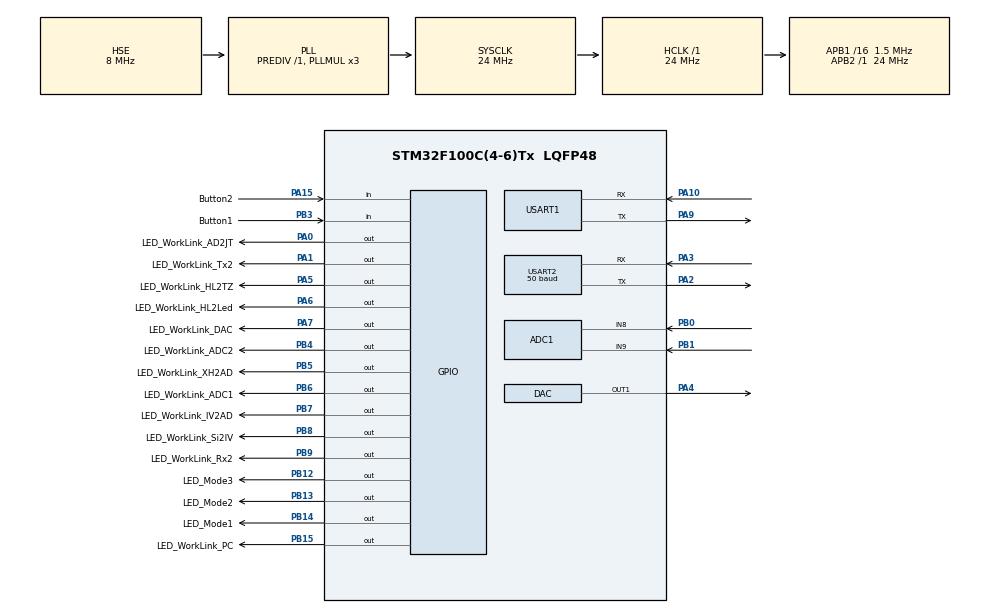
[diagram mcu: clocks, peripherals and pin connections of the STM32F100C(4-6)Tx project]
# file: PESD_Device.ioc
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ADC1.Channel-0\#ChannelRegularConversion=ADC_CHANNEL_8
ADC1.ContinuousConvMode=DISABLE
ADC1.DiscontinuousConvMode=DISABLE
ADC1.EnableInjectedConversion=DISABLE
ADC1.EnableRegularConversion=ENABLE
ADC1.InjNumberOfConversion=0
ADC1.NbrOfConversionFlag=1
ADC1.Rank-0\#ChannelRegularConversion=1
ADC1.SamplingTime-0\#ChannelRegularConversion=ADC_SAMPLETIME_1CYCLE_5
ADC1.master=1
Mcu.Family=STM32F1
Mcu.Name=STM32F100C(4-6)Tx
Mcu.Package=LQFP48
NVIC.PriorityGroup=NVIC_PRIORITYGROUP_4
NVIC.TIM1_UP_TIM16_IRQn=true\:0\:0\:false\:false\:true\:true\:true
NVIC.TIM6_DAC_IRQn=true\:0\:0\:false\:false\:true\:true\:true
NVIC.TIM7_IRQn=true\:0\:0\:false\:false\:true\:true\:true
NVIC.USART1_IRQn=true\:0\:0\:false\:false\:true\:true\:true
NVIC.USART2_IRQn=true\:0\:0\:false\:false\:true\:true\:true
PA0-WKUP.GPIO_Label=LED_WorkLink_AD2JT
PA0-WKUP.PinState=GPIO_PIN_SET
PA0-WKUP.Signal=GPIO_Output
PA1.GPIO_Label=LED_WorkLink_Tx2
PA1.PinState=GPIO_PIN_SET
PA1.Signal=GPIO_Output
PA10.Mode=Asynchronous
PA10.Signal=USART1_RX
PA13.Mode=Serial_Wire
PA13.Signal=SYS_JTMS-SWDIO
PA14.Mode=Serial_Wire
PA14.Signal=SYS_JTCK-SWCLK
PA15.GPIO_Label=Button2
PA15.Signal=GPIO_Input
PA2.Mode=Asynchronous
PA2.Signal=USART2_TX
PA3.Mode=Asynchronous
PA3.Signal=USART2_RX
PA4.Signal=COMP_DAC1_group
PA5.GPIO_Label=LED_WorkLink_HL2TZ
PA5.PinState=GPIO_PIN_SET
PA5.Signal=GPIO_Output
PA6.GPIO_Label=LED_WorkLink_HL2Led
PA6.PinState=GPIO_PIN_SET
PA6.Signal=GPIO_Output
PA7.GPIO_Label=LED_WorkLink_DAC
PA7.PinState=GPIO_PIN_SET
PA7.Signal=GPIO_Output
PA9.Mode=Asynchronous
PA9.Signal=USART1_TX
PB0.Signal=ADCx_IN8
PB1.Signal=ADCx_IN9
PB12.GPIO_Label=LED_Mode3
PB12.PinState=GPIO_PIN_SET
PB12.Signal=GPIO_Output
PB13.GPIO_Label=LED_Mode2
PB13.PinState=GPIO_PIN_SET
PB13.Signal=GPIO_Output
PB14.GPIO_Label=LED_Mode1
PB14.PinState=GPIO_PIN_SET
PB14.Signal=GPIO_Output
PB15.GPIO_Label=LED_WorkLink_PC
PB15.PinState=GPIO_PIN_SET
PB15.Signal=GPIO_Output
PB3.GPIO_Label=Button1
PB3.Signal=GPIO_Input
PB4.GPIO_Label=LED_WorkLink_ADC2
PB4.PinState=GPIO_PIN_SET
PB4.Signal=GPIO_Output
PB5.GPIO_Label=LED_WorkLink_XH2AD
PB5.PinState=GPIO_PIN_SET
PB5.Signal=GPIO_Output
PB6.GPIO_Label=LED_WorkLink_ADC1
PB6.PinState=GPIO_PIN_SET
PB6.Signal=GPIO_Output
PB7.GPIO_Label=LED_WorkLink_IV2AD
PB7.PinState=GPIO_PIN_SET
PB7.Signal=GPIO_Output
PB8.GPIO_Label=LED_WorkLink_Si2IV
PB8.PinState=GPIO_PIN_SET
PB8.Signal=GPIO_Output
PB9.GPIO_Label=LED_WorkLink_Rx2
PB9.PinState=GPIO_PIN_SET
PB9.Signal=GPIO_Output
PD0-OSC_IN.Mode=HSE-External-Oscillator
PD0-OSC_IN.Signal=RCC_OSC_IN
PD1-OSC_OUT.Mode=HSE-External-Oscillator
PD1-OSC_OUT.Signal=RCC_OSC_OUT
ProjectManager.HeapSize=0x200
ProjectManager.StackSize=0x400
ProjectManager.TargetToolchain=Other Toolchains (GPDSC)
RCC.AHBFreq_Value=24000000
RCC.APB1CLKDivider=RCC_HCLK_DIV16
RCC.APB1Freq_Value=1500000
RCC.APB1TimFreq_Value=3000000
RCC.APB2Freq_Value=24000000
RCC.APB2TimFreq_Value=24000000
RCC.HCLKFreq_Value=24000000
RCC.PLLMUL=RCC_PLL_MUL3
RCC.PLLSource=RCC_PLLSOURCE_HSE
RCC.SYSCLKFreq_VALUE=24000000
RCC.SYSCLKSource=RCC_SYSCLKSOURCE_PLLCLK
SH.ADCx_IN8.0=ADC1_IN8,IN8
SH.ADCx_IN9.0=ADC1_IN9,IN9
SH.COMP_DAC1_group.0=DAC_OUT1,DAC_OUT1
TIM16.AutoReloadPreload=TIM_AUTORELOAD_PRELOAD_ENABLE
TIM16.Period=1000
TIM16.Prescaler=24
TIM7.AutoReloadPreload=TIM_AUTORELOAD_PRELOAD_ENABLE
TIM7.Period=1
TIM7.Prescaler=3000
USART1.VirtualMode=VM_ASYNC
USART2.BaudRate=50
USART2.VirtualMode=VM_ASYNC
VP_TIM16_VS_ClockSourceINT.Mode=Enable_Timer
VP_TIM7_VS_ClockSourceINT.Mode=Enable_Timer
board=custom

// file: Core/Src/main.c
/* USER CODE BEGIN Header */
/**
  ******************************************************************************
  * @file           : main.c
  * @brief          : Main program body
  ******************************************************************************
  * @attention
  *
  * <h2><center>&copy; Copyright (c) 2021 STMicroelectronics.
  * All rights reserved.</center></h2>
  *
  * This software component is licensed by ST under BSD 3-Clause license,
  * the "License"; You may not use this file except in compliance with the
  * License. You may obtain a copy of the License at:
  *                        opensource.org/licenses/BSD-3-Clause
  *
  ******************************************************************************
  */
/* USER CODE END Header */
#include "main.h"
#include "adc.h"
#include "dac.h"
#include "tim.h"
#include "usart.h"
#include "gpio.h"

/* USER CODE BEGIN Includes */
uint8_t huart1Rx;
uint8_t huart2Rx;
uint8_t Mode;
uint8_t AD2List[200];
uint8_t AD2NeedCount;
uint8_t AD2ListIndex;
void UartRxProc(void);
void ReadADC1(void);
#include "HardwareProfile.h"
/* USER CODE END Includes */

void SystemClock_Config(void);

int main(void)
{
  /* USER CODE BEGIN 1 */
	uint8_t tx[20], i;
	uint32_t x32;
  /* USER CODE END 1 */

  /* MCU Configuration--------------------------------------------------------*/

  /* Reset of all peripherals, Initializes the Flash interface and the Systick. */
  HAL_Init();

  /* USER CODE BEGIN Init */
  for (i = 0; i < 20; i++)
  {
	  tx[i] = 0x55;
  }
  tx[19] = '\n';
  /* USER CODE END Init */

  /* Configure the system clock */
  SystemClock_Config();

  /* Initialize all configured peripherals */
  MX_GPIO_Init();
  MX_ADC1_Init();
  MX_DAC_Init();
  MX_USART1_UART_Init();
  MX_USART2_UART_Init();
  MX_TIM7_Init();
  MX_TIM16_Init();
  /* USER CODE BEGIN 2 */
  wfDelay_init(24);
  Mode = 1;
  while (HAL_UART_Receive_IT(&huart1, &huart1Rx, 1) == HAL_OK);
  while (HAL_UART_Receive_IT(&huart2, &huart2Rx, 1) == HAL_OK);
  CP1616_Client_Init();
  HAL_DAC_Start(&hdac, DAC_CHANNEL_1);
  x32 = 0;
  for (i=0;i<10;i++)
  {
	  x32 += 409;
	  HAL_DAC_SetValue(&hdac, DAC_CHANNEL_1, DAC_ALIGN_12B_R, x32);
	  ReadADC1();
  }

//   HAL_GPIO_WritePin(LED_WorkLink_ADC1_GPIO_Port, LED_WorkLink_ADC1_Pin, GPIO_PIN_RESET);
//   HAL_GPIO_WritePin(LED_WorkLink_ADC2_GPIO_Port, LED_WorkLink_ADC2_Pin, GPIO_PIN_RESET);
//   HAL_GPIO_WritePin(LED_WorkLink_AD2JT_GPIO_Port, LED_WorkLink_AD2JT_Pin, GPIO_PIN_RESET);
//   HAL_GPIO_WritePin(LED_WorkLink_HL2TZ_GPIO_Port, LED_WorkLink_HL2TZ_Pin, GPIO_PIN_RESET);
//   HAL_GPIO_WritePin(LED_WorkLink_HL2Led_GPIO_Port, LED_WorkLink_HL2Led_Pin, GPIO_PIN_RESET);
//   HAL_GPIO_WritePin(LED_Mode1_GPIO_Port, LED_Mode1_Pin, GPIO_PIN_RESET);
//   HAL_GPIO_WritePin(LED_Mode2_GPIO_Port, LED_Mode2_Pin, GPIO_PIN_RESET);
//   HAL_GPIO_WritePin(LED_Mode3_GPIO_Port, LED_Mode3_Pin, GPIO_PIN_RESET);
//   HAL_GPIO_WritePin(LED_WorkLink_PC_GPIO_Port, LED_WorkLink_PC_Pin, GPIO_PIN_RESET);
//   HAL_GPIO_WritePin(LED_WorkLink_XH2AD_GPIO_Port, LED_WorkLink_XH2AD_Pin, GPIO_PIN_RESET);
//   HAL_GPIO_WritePin(LED_WorkLink_DAC_GPIO_Port, LED_WorkLink_DAC_Pin, GPIO_PIN_RESET);
//   HAL_GPIO_WritePin(LED_WorkLink_IV2AD_GPIO_Port, LED_WorkLink_IV2AD_Pin, GPIO_PIN_RESET);
//   HAL_GPIO_WritePin(LED_WorkLink_Si2IV_GPIO_Port, LED_WorkLink_Si2IV_Pin, GPIO_PIN_RESET);
//   HAL_GPIO_WritePin(LED_WorkLink_Tx2_GPIO_Port, LED_WorkLink_Tx2_Pin, GPIO_PIN_RESET);
//   HAL_GPIO_WritePin(LED_WorkLink_Rx2_GPIO_Port, LED_WorkLink_Rx2_Pin, GPIO_PIN_RESET);
  /* USER CODE END 2 */

  /* Infinite loop */
  /* USER CODE BEGIN WHILE */
  while (1)
  {
	  if (huart1.RxState != HAL_UART_STATE_BUSY_RX)
	  {
		  while (HAL_UART_Receive_IT(&huart1, &huart1Rx, 1) == HAL_OK);
	  }
	  if (huart2.RxState != HAL_UART_STATE_BUSY_RX)
	  {
		  while (HAL_UART_Receive_IT(&huart2, &huart2Rx, 1) == HAL_OK);
	  }
	  if (CP1616_Client_Flags.Bits.bRx)
	  {
		  UartRxProc();
	  }
// 	  if (Mode == 2)
// 	  {
// 		  HAL_UART_Transmit(&huart2, tx, 20, 1000000);
// 		  HAL_Delay(1000);
// 	  }
	  //ReadADC1();
	  //
    /* USER CODE END WHILE */

  }
}

void SystemClock_Config(void)
{
  RCC_OscInitTypeDef RCC_OscInitStruct = {0};
  RCC_ClkInitTypeDef RCC_ClkInitStruct = {0};
  RCC_PeriphCLKInitTypeDef PeriphClkInit = {0};

  /** Initializes the RCC Oscillators according to the specified parameters
  * in the RCC_OscInitTypeDef structure.
  */
  RCC_OscInitStruct.OscillatorType = RCC_OSCILLATORTYPE_HSE;
  RCC_OscInitStruct.HSEState = RCC_HSE_ON;
  RCC_OscInitStruct.HSEPredivValue = RCC_HSE_PREDIV_DIV1;
  RCC_OscInitStruct.PLL.PLLState = RCC_PLL_ON;
  RCC_OscInitStruct.PLL.PLLSource = RCC_PLLSOURCE_HSE;
  RCC_OscInitStruct.PLL.PLLMUL = RCC_PLL_MUL3;
  if (HAL_RCC_OscConfig(&RCC_OscInitStruct) != HAL_OK)
  {
    Error_Handler();
  }
  /** Initializes the CPU, AHB and APB buses clocks
  */
  RCC_ClkInitStruct.ClockType = RCC_CLOCKTYPE_HCLK|RCC_CLOCKTYPE_SYSCLK
                              |RCC_CLOCKTYPE_PCLK1|RCC_CLOCKTYPE_PCLK2;
  RCC_ClkInitStruct.SYSCLKSource = RCC_SYSCLKSOURCE_PLLCLK;
  RCC_ClkInitStruct.AHBCLKDivider = RCC_SYSCLK_DIV1;
  RCC_ClkInitStruct.APB1CLKDivider = RCC_HCLK_DIV16;
  RCC_ClkInitStruct.APB2CLKDivider = RCC_HCLK_DIV1;

  if (HAL_RCC_ClockConfig(&RCC_ClkInitStruct, FLASH_LATENCY_0) != HAL_OK)
  {
    Error_Handler();
  }
  PeriphClkInit.PeriphClockSelection = RCC_PERIPHCLK_ADC;
  PeriphClkInit.AdcClockSelection = RCC_ADCPCLK2_DIV2;
  if (HAL_RCCEx_PeriphCLKConfig(&PeriphClkInit) != HAL_OK)
  {
    Error_Handler();
  }
}

void Error_Handler(void)
{
  __disable_irq();
  while (1)
  {
  }
}

/************************ (C) COPYRIGHT STMicroelectronics *****END OF FILE****/
